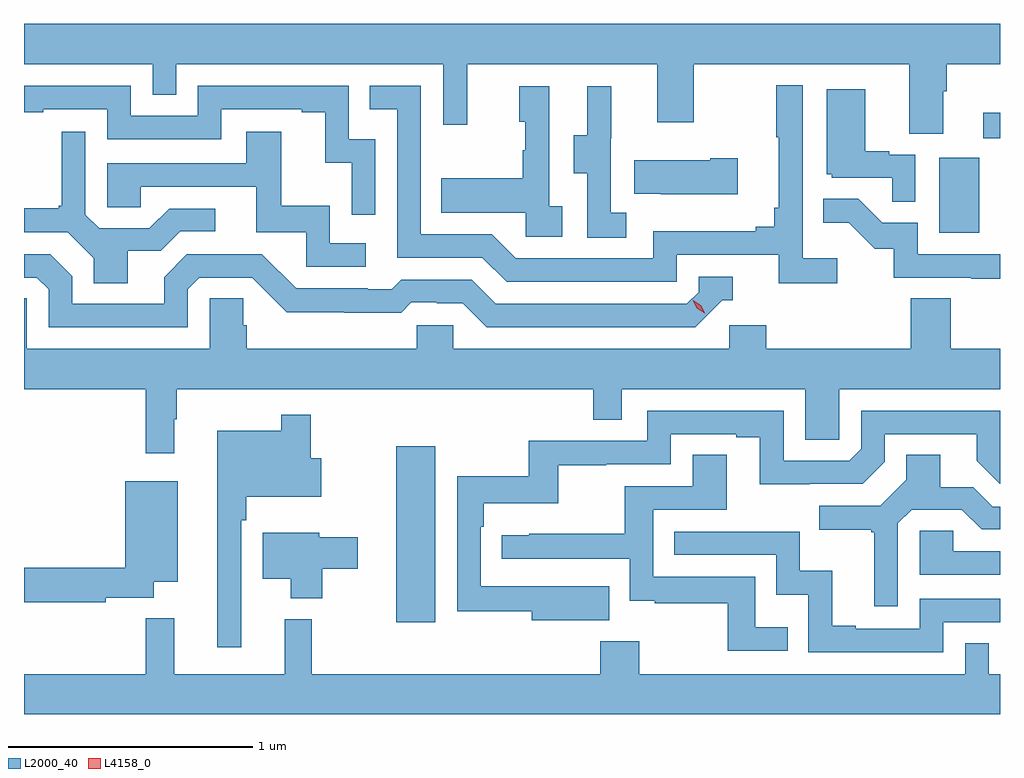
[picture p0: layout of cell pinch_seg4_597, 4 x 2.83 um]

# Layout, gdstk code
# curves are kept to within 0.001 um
import gdstk
lib = gdstk.Library(unit=1e-6, precision=1e-09)
def R(c, l, rs):  # rectangles x0, y0, x1, y1
    for r in rs: c.add(gdstk.rectangle(r[:2], r[2:], *l))
def P(c, l, *ps):  # polygons
    for p in ps: c.add(gdstk.Polygon(p, *l))
L2000_40 = (2000, 40)
L4158_0 = (4158, 0)

pinch_seg4_597 = lib.new_cell('pinch_seg4_597')
R(pinch_seg4_597, L2000_40, [(1045.808,782.544,1045.969,783.265), (1048.034,784.14,1048.198,784.447), (1048.215,784.527,1048.283,784.633)])
P(pinch_seg4_597, L2000_40, [(1048.051,784.72),(1048.064,784.72),(1048.064,784.832),(1048.283,784.832),(1048.283,784.996),(1044.283,784.996),(1044.283,784.832),(1044.81,784.832),(1044.81,784.705),(1044.906,784.705),(1044.906,784.832),(1046.001,784.832),(1046.001,784.584),(1046.099,784.584),(1046.099,784.832),(1046.879,784.832),(1046.879,784.593),(1047.027,784.593),(1047.027,784.832),(1047.911,784.832),(1047.911,784.546),(1048.051,784.546)],
  [(1047.616,784.036),(1047.474,784.036),(1047.474,784.744),(1047.366,784.744),(1047.366,784.531),(1047.377,784.531),(1047.377,784.243),(1047.358,784.243),(1047.358,784.166),(1047.281,784.166),(1047.281,784.147),(1046.862,784.147),(1046.862,784.035),(1046.298,784.035),(1046.199,784.134),(1045.908,784.134),(1045.908,784.743),(1045.699,784.743),(1045.699,784.647),(1045.812,784.647),(1045.812,784.038),(1046.162,784.038),(1046.261,783.939),(1046.958,783.939),(1046.958,784.05),(1047.377,784.05),(1047.377,783.934),(1047.616,783.934)],
  [(1045.722,784.524),(1045.614,784.524),(1045.614,784.743),(1044.996,784.743),(1044.996,784.62),(1044.72,784.62),(1044.72,784.743),(1044.283,784.743),(1044.283,784.635),(1044.361,784.635),(1044.361,784.647),(1044.624,784.647),(1044.624,784.524),(1045.092,784.524),(1045.092,784.647),(1045.421,784.647),(1045.421,784.635),(1045.517,784.635),(1045.517,784.427),(1045.626,784.427),(1045.626,784.215),(1045.722,784.215)],
  [(1046.488,784.25),(1046.436,784.25),(1046.436,784.741),(1046.312,784.741),(1046.312,784.596),(1046.338,784.596),(1046.338,784.478),(1046.328,784.478),(1046.328,784.363),(1045.993,784.363),(1045.993,784.223),(1046.34,784.223),(1046.34,784.125),(1046.488,784.125)],
  [(1046.752,784.223),(1046.688,784.223),(1046.688,784.527),(1046.69,784.527),(1046.69,784.741),(1046.591,784.741),(1046.591,784.539),(1046.537,784.539),(1046.537,784.384),(1046.592,784.384),(1046.592,784.12),(1046.752,784.12)],
  [(1047.936,784.461),(1047.83,784.461),(1047.83,784.474),(1047.73,784.474),(1047.73,784.729),(1047.572,784.729),(1047.572,784.38),(1047.594,784.38),(1047.594,784.365),(1047.841,784.365),(1047.841,784.267),(1047.936,784.267)],
  [(1044.709,784.066),(1044.844,784.066),(1044.924,784.146),(1045.066,784.146),(1045.066,784.239),(1044.878,784.239),(1044.797,784.158),(1044.591,784.158),(1044.534,784.215),(1044.534,784.555),(1044.437,784.555),(1044.437,784.252),(1044.426,784.252),(1044.426,784.24),(1044.283,784.24),(1044.283,784.143),(1044.462,784.143),(1044.569,784.036),(1044.569,783.934),(1044.709,783.934)],
  [(1045.684,784.098),(1045.536,784.098),(1045.536,784.252),(1045.337,784.252),(1045.337,784.555),(1045.193,784.555),(1045.193,784.425),(1044.624,784.425),(1044.624,784.245),(1044.761,784.245),(1044.761,784.329),(1045.235,784.329),(1045.235,784.143),(1045.44,784.143),(1045.44,784.002),(1045.684,784.002)],
  [(1047.208,784.446),(1047.095,784.446),(1047.095,784.438),(1046.785,784.438),(1046.785,784.301),(1046.893,784.301),(1046.893,784.298),(1047.208,784.298)],
  [(1048.283,784.053),(1047.945,784.053),(1047.945,784.182),(1047.801,784.182),(1047.703,784.28),(1047.559,784.28),(1047.559,784.181),(1047.663,784.181),(1047.77,784.074),(1047.847,784.074),(1047.847,783.957),(1048.165,783.957),(1048.165,783.952),(1048.283,783.952)],
  [(1044.954,783.909),(1045.002,783.957),(1045.218,783.957),(1045.36,783.815),(1045.596,783.815),(1045.596,783.813),(1045.829,783.813),(1045.871,783.855),(1045.974,783.855),(1045.974,783.852),(1046.081,783.852),(1046.18,783.753),(1047.033,783.753),(1047.144,783.864),(1047.187,783.864),(1047.187,783.96),(1047.048,783.96),(1047.048,783.897),(1047,783.849),(1046.217,783.849),(1046.118,783.948),(1045.829,783.948),(1045.79,783.909),(1045.691,783.909),(1045.691,783.912),(1045.398,783.912),(1045.257,784.053),(1044.951,784.053),(1044.857,783.959),(1044.857,783.849),(1044.48,783.849),(1044.48,783.963),(1044.39,784.053),(1044.283,784.053),(1044.283,783.957),(1044.336,783.957),(1044.384,783.909),(1044.384,783.753),(1044.954,783.753)],
  [(1044.898,783.377),(1044.91,783.377),(1044.91,783.5),(1046.617,783.5),(1046.617,783.373),(1046.733,783.373),(1046.733,783.5),(1047.485,783.5),(1047.485,783.292),(1047.624,783.292),(1047.624,783.5),(1048.283,783.5),(1048.283,783.664),(1048.082,783.664),(1048.082,783.872),(1047.917,783.872),(1047.917,783.664),(1047.326,783.664),(1047.326,783.762),(1047.174,783.762),(1047.174,783.664),(1046.043,783.664),(1046.043,783.762),(1045.893,783.762),(1045.893,783.664),(1045.196,783.664),(1045.196,783.762),(1045.181,783.762),(1045.181,783.872),(1045.044,783.872),(1045.044,783.664),(1044.294,783.664),(1044.294,783.872),(1044.283,783.872),(1044.283,783.5),(1044.781,783.5),(1044.781,783.237),(1044.898,783.237)],
  [(1046.681,782.692),(1046.154,782.691),(1046.154,782.936),(1046.168,782.936),(1046.168,783.032),(1046.473,783.032),(1046.473,783.187),(1046.669,783.187),(1046.669,783.192),(1046.934,783.192),(1046.934,783.315),(1047.203,783.315),(1047.203,783.303),(1047.299,783.303),(1047.299,783.11),(1047.72,783.111),(1047.81,783.201),(1047.81,783.315),(1048.187,783.315),(1048.187,783.205),(1048.281,783.111),(1048.283,783.111),(1048.283,783.411),(1047.714,783.411),(1047.714,783.255),(1047.666,783.207),(1047.396,783.207),(1047.396,783.411),(1046.838,783.411),(1046.838,783.288),(1046.352,783.288),(1046.352,783.142),(1046.058,783.142),(1046.058,782.59),(1046.363,782.59),(1046.363,782.552),(1046.681,782.552)],
  [(1045.173,782.963),(1045.193,782.963),(1045.193,783.059),(1045.501,783.059),(1045.501,783.217),(1045.459,783.217),(1045.459,783.394),(1045.338,783.394),(1045.338,783.328),(1045.076,783.328),(1045.076,782.442),(1045.173,782.442)],
  [(1047.413,782.524),(1047.279,782.524),(1047.279,782.73),(1046.862,782.73),(1046.862,783.006),(1047.163,783.006),(1047.163,783.23),(1047.023,783.23),(1047.023,783.102),(1046.746,783.102),(1046.746,782.906),(1046.353,782.906),(1046.353,782.901),(1046.241,782.901),(1046.241,782.805),(1046.766,782.805),(1046.766,782.633),(1046.869,782.633),(1046.869,782.622),(1047.168,782.622),(1047.168,782.427),(1047.413,782.427)],
  [(1047.864,782.949),(1047.921,783.006),(1048.127,783.006),(1048.208,782.925),(1048.283,782.925),(1048.283,783.018),(1048.254,783.018),(1048.174,783.098),(1048.039,783.098),(1048.039,783.23),(1047.899,783.23),(1047.899,783.128),(1047.792,783.021),(1047.543,783.021),(1047.543,782.924),(1047.756,782.924),(1047.756,782.913),(1047.767,782.913),(1047.767,782.61),(1047.864,782.61)],
  [(1044.618,782.645),(1044.814,782.645),(1044.814,782.711),(1044.913,782.711),(1044.913,783.121),(1044.698,783.121),(1044.698,782.768),(1044.283,782.768),(1044.283,782.626),(1044.618,782.626)],
  [(1048.283,782.835),(1048.091,782.835),(1048.091,782.919),(1047.954,782.919),(1047.954,782.739),(1048.283,782.739)],
  [(1048.05,782.544),(1048.283,782.544),(1048.283,782.64),(1047.954,782.64),(1047.954,782.517),(1047.691,782.517),(1047.691,782.53),(1047.595,782.53),(1047.595,782.755),(1047.462,782.755),(1047.462,782.916),(1046.947,782.916),(1046.947,782.82),(1047.366,782.82),(1047.366,782.657),(1047.498,782.657),(1047.498,782.421),(1048.05,782.421)],
  [(1045.506,782.764),(1045.651,782.764),(1045.651,782.893),(1045.494,782.893),(1045.494,782.911),(1045.262,782.911),(1045.262,782.723),(1045.376,782.723),(1045.376,782.642),(1045.506,782.642)],
  [(1048.283,782.332),(1048.236,782.332),(1048.236,782.459),(1048.14,782.459),(1048.14,782.332),(1046.805,782.332),(1046.805,782.467),(1046.645,782.467),(1046.645,782.332),(1045.462,782.332),(1045.462,782.557),(1045.352,782.557),(1045.352,782.332),(1044.899,782.332),(1044.899,782.56),(1044.781,782.56),(1044.781,782.332),(1044.283,782.332),(1044.283,782.168),(1048.283,782.168)])
P(pinch_seg4_597, L4158_0, [(1047.072,783.811),(1047.041,783.831),(1047.024,783.863),(1047.024,783.864),(1047.025,783.864),(1047.056,783.844),(1047.072,783.812),(1047.072,783.811)])

lib.write_gds('pinch_seg4_597.gds')
